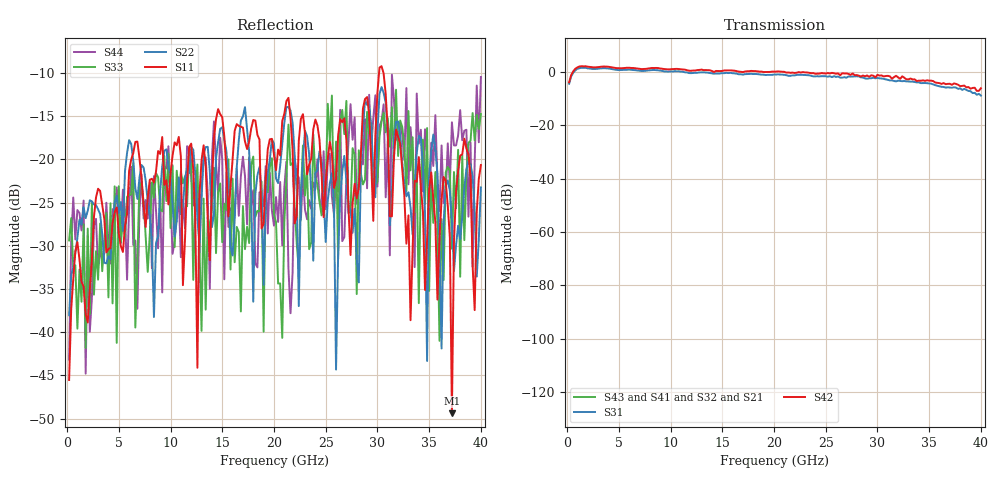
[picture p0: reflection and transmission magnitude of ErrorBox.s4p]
# GHz S RI R 50
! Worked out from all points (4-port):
!   200 points, 200 MHz to 40 GHz, reference 50 ohm
!   strongest paths, dB at 200 MHz, 10.2 GHz, 20.2 GHz, 30.2 GHz, 40 GHz:
!     S42: -4.0, 1.0, 0.0, -1.4, -6.2
!     S31: -4.5, 0.1, -1.1, -2.5, -8.9
!     S43: -, -, -, -, -
!     S41: -, -, -, -, -
!     S32: -, -, -, -, -
!     S21: -, -, -, -, -
!   lowest |S11| = -49.4 dB at 37.2 GHz (marker M1), VSWR 1.01, Z = 49.7 - j0.174 ohm
!   |S11| at or under -10 dB: start of sweep to 30.16 GHz; 30.58 GHz to end of sweep
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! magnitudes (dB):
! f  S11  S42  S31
! 200 MHz  -45.5  -4.0  -4.5
! 20.8 GHz  -15.6  0.0  -1.1
! 21.4 GHz  -12.9  -0.3  -1.5
! 26 GHz  -22.3  -0.8  -1.9
! 30.4 GHz  -9.2  -1.4  -2.5
! 37.2 GHz  -49.4  -4.9  -6.0
! 40 GHz  -20.7  -6.2  -8.9
